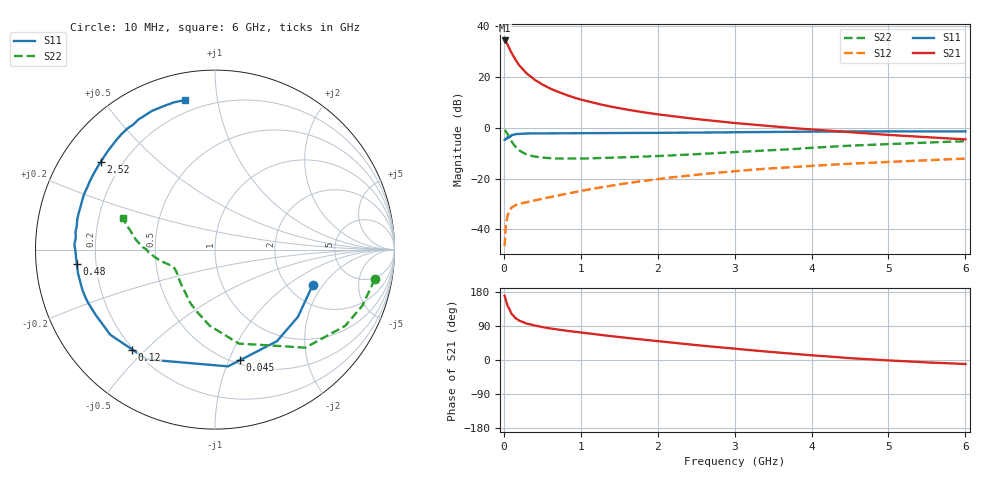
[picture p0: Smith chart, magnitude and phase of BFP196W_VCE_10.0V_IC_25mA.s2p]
! Infineon Technologies  Discrete & RF Semiconductors
! BFP196W
! VCE = 10.0V,  IC =  25mA
! Common Emitter S-Parameters:  Jan 2016
# GHz  S  MA  R  50
!  f  S11  S21  S12  S22
! GHz  MAG  ANG  MAG  ANG  MAG  ANG  MAG  ANG
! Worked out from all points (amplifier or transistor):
!   210 points, 10 MHz to 6 GHz, reference 50 ohm
!   highest |S21| = 34.3 dB at 10 MHz (marker M1)
!   |S21| within 3 dB of that: start of sweep to 70.9 MHz
!   unconditionally stable (mu >= 1): 891.7 MHz to 3.568 GHz; 3.63 GHz to 3.854 GHz
!   at 185 MHz: K = 0.36, MSG = 27.7 dB, |S12| = -30.1 dB
!   at 1.52 GHz: K = 1.12, MAG = 12.8 dB, |S12| = -22.2 dB
!   at 6 GHz: K = 0.93, MSG = 3.8 dB, |S12| = -12.1 dB
!   S11 on the Smith chart (normalised r, x): 10 MHz: 2.71, -1.60; 45 MHz: 0.54, -1.10; 120 MHz: 0.20, -0.46; 480 MHz: 0.13, -0.05; 2.52 GHz: 0.12, +0.33; 6 GHz: 0.13, +0.81
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0.01  0.5791 -19.8  52.1 169.5  0.0047 74.9  0.9051 -10.5
0.02  0.5948 -39.0  51.41 162.6  0.0094 70.8  0.8789 -20.8
0.03  0.6161 -55.9  49.02 155.1  0.0132 66.5  0.8402 -30.4
0.045  0.6314 -77.1  44.2 145.4  0.0177 57.9  0.7608 -42.7
0.05  0.6546 -83.6  42.91 141.7  0.0193 56.0  0.7431 -47.3
0.1  0.7198 -121.8  29.73 121.5  0.0269 40.5  0.5406 -75.7
0.12  0.7229 -129.6  26.46 117.9  0.0281 38.0  0.4887 -82.0
0.15  0.752 -140.9  21.82 110.4  0.0301 34.6  0.425 -94.0
0.2  0.7579 -151.3  16.89 103.9  0.0319 33.2  0.3594 -106.5
0.24  0.7658 -156.8  14.44 100.5  0.0331 33.2  0.3309 -113.9
0.3  0.772 -163.2  11.57 96.0  0.0344 33.3  0.2955 -123.2
0.4  0.7748 -170.2  8.795 90.8  0.0373 35.7  0.2719 -133.3
0.48  0.7743 -174.1  7.429 87.7  0.0395 38.1  0.2616 -139.0
0.7  0.7842 178.0  5.124 80.4  0.0465 43.6  0.2485 -148.8
1.02  0.7819 170.1  3.524 72.0  0.058 49.0  0.2491 -155.4
1.4  0.7861 162.3  2.592 62.8  0.0731 52.1  0.2576 -159.3
2.02  0.7949 150.9  1.823 49.3  0.099 52.6  0.279 -163.7
2.52  0.8025 142.6  1.475 39.0  0.12 50.9  0.3035 -167.7
3.1  0.8183 133.3  1.204 28.0  0.1444 47.4  0.3386 -173.1
4.1  0.8417 119.4  0.905 11.0  0.1822 40.7  0.4118 176.9
5.1  0.8495 108.7  0.709 -2.1  0.2165 33.6  0.4854 167.1
6  0.8498 101.4  0.593 -10.5  0.2476 27.8  0.5432 161.0
